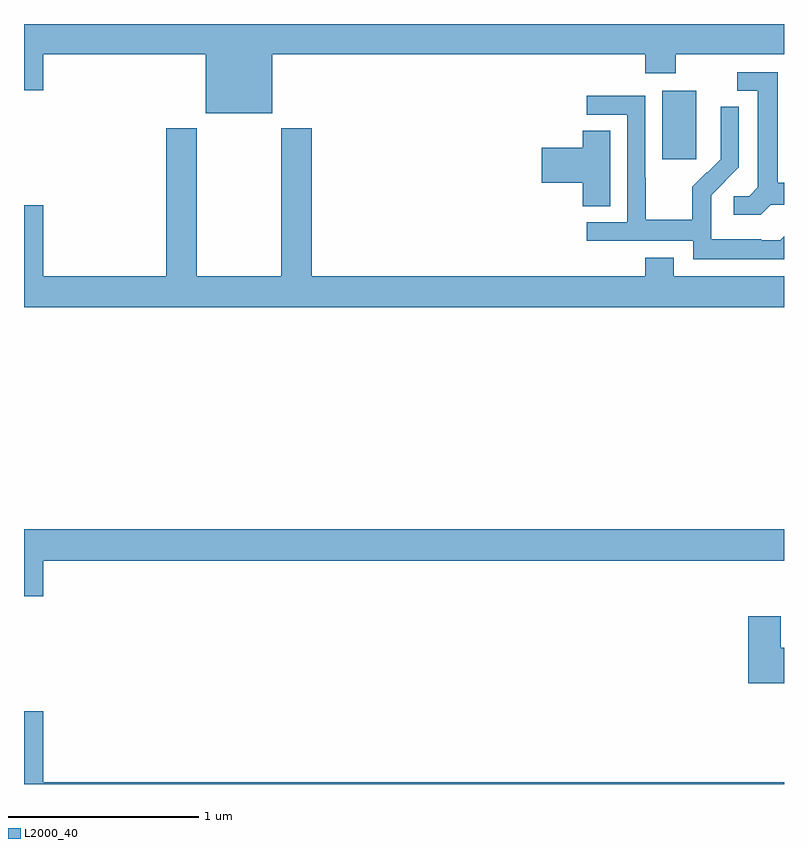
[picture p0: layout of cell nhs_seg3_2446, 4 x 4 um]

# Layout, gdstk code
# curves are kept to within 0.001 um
import gdstk
lib = gdstk.Library(unit=1e-6, precision=1e-09)
def R(c, l, rs):  # rectangles x0, y0, x1, y1
    for r in rs: c.add(gdstk.rectangle(r[:2], r[2:], *l))
def P(c, l, *ps):  # polygons
    for p in ps: c.add(gdstk.Polygon(p, *l))
L2000_40 = (2000, 40)

nhs_seg3_2446 = lib.new_cell('nhs_seg3_2446')
R(nhs_seg3_2446, L2000_40, [(240.359,709.689,240.538,710.05)])
P(nhs_seg3_2446, L2000_40, [(238.306,710.24),(240.269,710.24),(240.269,710.141),(240.429,710.141),(240.429,710.24),(241,710.24),(241,710.4),(237,710.4),(237,710.052),(237.1,710.052),(237.1,710.24),(237.956,710.24),(237.956,709.931),(238.306,709.931)],
  [(240.93,709.449),(241,709.449),(241,709.565),(240.967,709.565),(240.967,710.145),(240.753,710.145),(240.753,710.049),(240.863,710.049),(240.863,709.541),(240.816,709.494),(240.735,709.494),(240.735,709.397),(240.878,709.397)],
  [(241,709.282),(240.981,709.263),(240.881,709.263),(240.881,709.267),(240.618,709.267),(240.618,709.401),(240.616,709.401),(240.616,709.498),(240.762,709.646),(240.762,709.964),(240.666,709.964),(240.666,709.81),(240.668,709.81),(240.668,709.688),(240.597,709.617),(240.594,709.62),(240.517,709.543),(240.517,709.369),(240.273,709.369),(240.273,709.592),(240.27,709.592),(240.27,710.022),(239.961,710.022),(239.961,709.923),(240.174,709.923),(240.174,709.356),(239.961,709.356),(239.961,709.26),(240.522,709.26),(240.522,709.163),(241,709.163)],
  [(241,709.072),(240.421,709.072),(240.421,709.171),(240.269,709.171),(240.269,709.072),(238.514,709.072),(238.514,709.852),(238.354,709.852),(238.354,709.072),(237.909,709.072),(237.909,709.852),(237.749,709.852),(237.749,709.072),(237.1,709.072),(237.1,709.447),(237,709.447),(237,708.908),(241,708.908)],
  [(240.085,709.838),(239.942,709.838),(239.942,709.748),(239.724,709.748),(239.724,709.565),(239.942,709.565),(239.942,709.441),(240.085,709.441)],
  [(237.1,707.576),(241,707.576),(241,707.74),(237,707.74),(237,707.388),(237.1,707.388)],
  [(241,707.116),(240.982,707.116),(240.982,707.284),(240.812,707.284),(240.812,706.931),(241,706.931)],
  [(241,706.408),(237.1,706.408),(237.1,706.783),(237,706.783),(237,706.4),(241,706.4)])

lib.write_gds('nhs_seg3_2446.gds')
